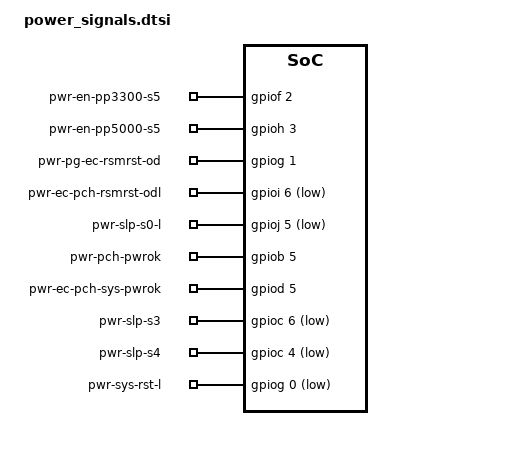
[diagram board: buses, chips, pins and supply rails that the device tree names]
/* Copyright 2024 The ChromiumOS Authors
 * Use of this source code is governed by a BSD-style license that can be
 * found in the LICENSE file.
 */

/ {
	chosen {
		intel-ap-pwrseq,espi = &espi0;
	};

	common-pwrseq {
		compatible = "intel,ap-pwrseq";

		sys-pwrok-delay = <3>;
		all-sys-pwrgd-timeout = <20>;
		sys-reset-delay = <60>;
	};

	pwr-en-pp3300-s5 {
		compatible = "intel,ap-pwrseq-gpio";
		dbg-label = "EN_S5_RAILS enable output to LS";
		enum-name = "PWR_EN_PP3300_A";
		gpios = <&gpiof 2 GPIO_ACTIVE_HIGH>;
		output;
	};
	pwr-en-pp5000-s5 {
		compatible = "intel,ap-pwrseq-gpio";
		dbg-label = "V5P0A_EN enable output to LS";
		enum-name = "PWR_EN_PP5000_A";
		gpios = <&gpioh 3 GPIO_ACTIVE_HIGH>;
		output;
	};
	pwr-pg-ec-rsmrst-od {
		compatible = "intel,ap-pwrseq-gpio";
		dbg-label = "VCCPRIM_IO power good from regulator";
		enum-name = "PWR_RSMRST_PWRGD";
		gpios = <&gpiog 1 GPIO_ACTIVE_HIGH>;
		interrupt-flags = <GPIO_INT_EDGE_BOTH>;
	};
	pwr-ec-pch-rsmrst-odl {
		compatible = "intel,ap-pwrseq-gpio";
		dbg-label = "RSMRST_L output to PCH";
		enum-name = "PWR_EC_PCH_RSMRST";
		gpios = <&gpioi 6 GPIO_ACTIVE_LOW>;
		reset-val = <1>;
		output;
	};
	pwr-slp-s0-l {
		compatible = "intel,ap-pwrseq-gpio";
		dbg-label = "SYS_SLP_S0IX_L input from PCH";
		enum-name = "PWR_SLP_S0";
		gpios = <&gpioj 5 GPIO_ACTIVE_LOW>;
		interrupt-flags = <GPIO_INT_EDGE_BOTH>;
	};
	pwr-pch-pwrok {
		compatible = "intel,ap-pwrseq-gpio";
		dbg-label = "PTL_PWROK output to PCH";
		enum-name = "PWR_PCH_PWROK";
		gpios = <&gpiob 5 (GPIO_OPEN_DRAIN | GPIO_VOLTAGE_1P8)>;
		output;
	};
	pwr-ec-pch-sys-pwrok {
		compatible = "intel,ap-pwrseq-gpio";
		dbg-label = "SYS_PWROK output to PCH";
		enum-name = "PWR_EC_PCH_SYS_PWROK";
		gpios = <&gpiod 5 (GPIO_OPEN_DRAIN | GPIO_VOLTAGE_1P8)>;
		output;
	};
	pwr-slp-s3 {
		compatible = "intel,ap-pwrseq-gpio";
		dbg-label = "SLP_S3_L input from PCH";
		enum-name = "PWR_SLP_S3";
		gpios = <&gpioc 6 (GPIO_ACTIVE_LOW | GPIO_VOLTAGE_1P8)>;
		interrupt-flags = <GPIO_INT_EDGE_BOTH>;
	};
	pwr-slp-s4 {
		compatible = "intel,ap-pwrseq-gpio";
		dbg-label = "SLP_S4_L input from PCH";
		enum-name = "PWR_SLP_S4";
		gpios = <&gpioc 4 (GPIO_ACTIVE_LOW | GPIO_VOLTAGE_1P8)>;
		interrupt-flags = <GPIO_INT_EDGE_BOTH>;
	};
	pwr-slp-s5 {
		compatible = "intel,ap-pwrseq-vw";
		dbg-label = "SLP_S5 virtual wire input from PCH";
		enum-name = "PWR_SLP_S5";
		virtual-wire = "ESPI_VWIRE_SIGNAL_SLP_S5";
		reset-val = <1>;
		vw-invert;
	};
	pwr-all-sys-pwrgd {
		/*
		 * This is a board level signal, since this
		 * signal needs some special processing.
		 */
		compatible = "intel,ap-pwrseq-external";
		dbg-label = "Combined all power good";
		enum-name = "PWR_ALL_SYS_PWRGD";
	};
	pwr-sys-rst-l {
		compatible = "intel,ap-pwrseq-gpio";
		dbg-label = "SYS_RESET# output to PCH";
		enum-name = "PWR_SYS_RST";
		gpios = <&gpiog 0 (GPIO_ACTIVE_LOW | GPIO_OPEN_DRAIN)>;
		output;
	};
	ap-power {
		compatible = "ap-pwrseq-sub-states";
		chipset = "AP_POWER_STATE_S0IX";
	};
};

/*
 * Because the power signals directly reference the GPIOs,
 * the correspinding named-gpios need to have no-auto-init set.
 */
&gpio_en_s5_rails {
	no-auto-init;
};
&gpio_v5p0a_en {
	no-auto-init;
};
&gpio_vccprim_io_pgood {
	no-auto-init;
};
&gpio_ec_rsmrst_l {
	no-auto-init;
};
&gpio_sys_slp_s0ix_l {
	no-auto-init;
};
&gpio_ec_pch_pwrok {
	no-auto-init;
};
&gpio_ec_pch_sys_pwrok {
	no-auto-init;
};
&sys_rst_odl {
	no-auto-init;
};
